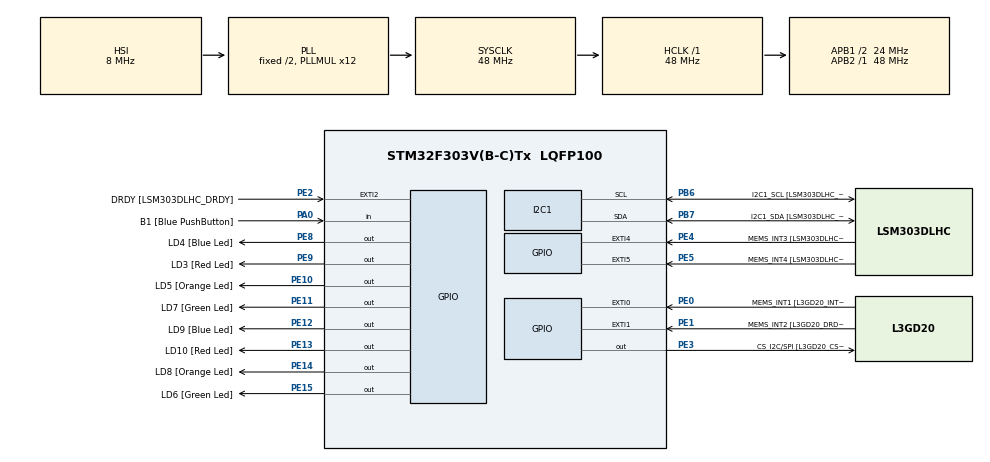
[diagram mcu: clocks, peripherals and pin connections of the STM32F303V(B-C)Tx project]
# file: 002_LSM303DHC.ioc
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I2C1.Timing=0x00201D2B
Mcu.Family=STM32F3
Mcu.Name=STM32F303V(B-C)Tx
Mcu.Package=LQFP100
NVIC.PriorityGroup=NVIC_PRIORITYGROUP_0
PA0.GPIO_Label=B1 [Blue PushButton]
PA0.GPIO_Mode=GPIO_MODE_INPUT
PA0.GPIO_PuPd=GPIO_NOPULL
PA0.Signal=GPIO_Input
PA11.GPIO_Label=DM
PA11.Signal=USB_DM
PA12.GPIO_Label=DP
PA12.Signal=USB_DP
PA13.GPIO_Label=SWDIO
PA13.Signal=SYS_JTMS-SWDIO
PA14.GPIO_Label=SWCLK
PA14.Signal=SYS_JTCK-SWCLK
PA5.GPIO_Label=SPI1_SCK [L3GD20_SCL/SPC]
PA5.GPIO_Mode=GPIO_MODE_AF_PP
PA5.GPIO_PuPd=GPIO_NOPULL
PA5.GPIO_Speed=GPIO_SPEED_FREQ_LOW
PA5.Signal=SPI1_SCK
PA6.GPIO_Label=SPI1_MISO [L3GD20_SA0/SDO]
PA6.GPIO_Mode=GPIO_MODE_AF_PP
PA6.GPIO_PuPd=GPIO_NOPULL
PA6.GPIO_Speed=GPIO_SPEED_FREQ_LOW
PA6.Signal=SPI1_MISO
PA7.GPIO_Label=SPI1_MISO [L3GD20_SDA/SDI/SDO]
PA7.GPIO_Mode=GPIO_MODE_AF_PP
PA7.GPIO_PuPd=GPIO_NOPULL
PA7.GPIO_Speed=GPIO_SPEED_FREQ_LOW
PA7.Signal=SPI1_MOSI
PB3.GPIO_Label=SWO
PB3.Signal=SYS_JTDO-TRACESWO
PB6.GPIO_FM6=__NULL
PB6.GPIO_Label=I2C1_SCL [LSM303DLHC_SCL]
PB6.GPIO_Mode=GPIO_MODE_AF_OD
PB6.GPIO_PuPd=GPIO_NOPULL
PB6.GPIO_Speed=GPIO_SPEED_FREQ_LOW
PB6.Mode=I2C
PB6.Signal=I2C1_SCL
PB7.GPIO_FM7=__NULL
PB7.GPIO_Label=I2C1_SDA [LSM303DLHC_SDA]
PB7.GPIO_Mode=GPIO_MODE_AF_OD
PB7.GPIO_PuPd=GPIO_NOPULL
PB7.GPIO_Speed=GPIO_SPEED_FREQ_LOW
PB7.Mode=I2C
PB7.Signal=I2C1_SDA
PC14-OSC32_IN.GPIO_Label=OSC32_IN
PC14-OSC32_IN.Signal=RCC_OSC32_IN
PC15-OSC32_OUT.GPIO_Label=OSC32_OUT
PC15-OSC32_OUT.Signal=RCC_OSC32_OUT
PE0.GPIO_Label=MEMS_INT1 [L3GD20_INT1]
PE0.GPIO_ModeDefaultEXTI=GPIO_MODE_EVT_RISING
PE0.GPIO_PuPd=GPIO_NOPULL
PE0.Signal=GPXTI0
PE1.GPIO_Label=MEMS_INT2 [L3GD20_DRDY/INT2]
PE1.GPIO_ModeDefaultEXTI=GPIO_MODE_EVT_RISING
PE1.GPIO_PuPd=GPIO_NOPULL
PE1.Signal=GPXTI1
PE10.GPIO_Label=LD5 [Orange Led]
PE10.GPIO_ModeDefaultOutputPP=GPIO_MODE_OUTPUT_PP
PE10.GPIO_PuPd=GPIO_NOPULL
PE10.GPIO_Speed=GPIO_SPEED_FREQ_LOW
PE10.Signal=GPIO_Output
PE11.GPIO_Label=LD7 [Green Led]
PE11.GPIO_ModeDefaultOutputPP=GPIO_MODE_OUTPUT_PP
PE11.GPIO_PuPd=GPIO_NOPULL
PE11.GPIO_Speed=GPIO_SPEED_FREQ_LOW
PE11.Signal=GPIO_Output
PE12.GPIO_Label=LD9 [Blue Led]
PE12.GPIO_ModeDefaultOutputPP=GPIO_MODE_OUTPUT_PP
PE12.GPIO_PuPd=GPIO_NOPULL
PE12.GPIO_Speed=GPIO_SPEED_FREQ_LOW
PE12.Signal=GPIO_Output
PE13.GPIO_Label=LD10 [Red Led]
PE13.GPIO_ModeDefaultOutputPP=GPIO_MODE_OUTPUT_PP
PE13.GPIO_PuPd=GPIO_NOPULL
PE13.GPIO_Speed=GPIO_SPEED_FREQ_LOW
PE13.Signal=GPIO_Output
PE14.GPIO_Label=LD8 [Orange Led]
PE14.GPIO_ModeDefaultOutputPP=GPIO_MODE_OUTPUT_PP
PE14.GPIO_PuPd=GPIO_NOPULL
PE14.GPIO_Speed=GPIO_SPEED_FREQ_LOW
PE14.Signal=GPIO_Output
PE15.GPIO_Label=LD6 [Green Led]
PE15.GPIO_ModeDefaultOutputPP=GPIO_MODE_OUTPUT_PP
PE15.GPIO_PuPd=GPIO_NOPULL
PE15.GPIO_Speed=GPIO_SPEED_FREQ_LOW
PE15.Signal=GPIO_Output
PE2.GPIO_Label=DRDY [LSM303DLHC_DRDY]
PE2.GPIO_ModeDefaultEXTI=GPIO_MODE_EVT_RISING
PE2.GPIO_PuPd=GPIO_NOPULL
PE2.Signal=GPXTI2
PE3.GPIO_Label=CS_I2C/SPI [L3GD20_CS_I2C/SPI]
PE3.GPIO_ModeDefaultOutputPP=GPIO_MODE_OUTPUT_PP
PE3.GPIO_PuPd=GPIO_NOPULL
PE3.GPIO_Speed=GPIO_SPEED_FREQ_LOW
PE3.Signal=GPIO_Output
PE4.GPIO_Label=MEMS_INT3 [LSM303DLHC_INT1]
PE4.GPIO_ModeDefaultEXTI=GPIO_MODE_EVT_RISING
PE4.GPIO_PuPd=GPIO_NOPULL
PE4.Signal=GPXTI4
PE5.GPIO_Label=MEMS_INT4 [LSM303DLHC_INT2]
PE5.GPIO_ModeDefaultEXTI=GPIO_MODE_EVT_RISING
PE5.GPIO_PuPd=GPIO_NOPULL
PE5.Signal=GPXTI5
PE8.GPIO_Label=LD4 [Blue Led]
PE8.GPIO_ModeDefaultOutputPP=GPIO_MODE_OUTPUT_PP
PE8.GPIO_PuPd=GPIO_NOPULL
PE8.GPIO_Speed=GPIO_SPEED_FREQ_LOW
PE8.Signal=GPIO_Output
PE9.GPIO_Label=LD3 [Red Led]
PE9.GPIO_ModeDefaultOutputPP=GPIO_MODE_OUTPUT_PP
PE9.GPIO_PuPd=GPIO_NOPULL
PE9.GPIO_Speed=GPIO_SPEED_FREQ_LOW
PE9.Signal=GPIO_Output
PF0-OSC_IN.GPIO_Label=OSC_IN
PF0-OSC_IN.Signal=RCC_OSC_IN
PF1-OSC_OUT.GPIO_Label=OSC_OUT
PF1-OSC_OUT.Signal=RCC_OSC_OUT
ProjectManager.HeapSize=0x200
ProjectManager.StackSize=0x400
ProjectManager.TargetToolchain=STM32CubeIDE
RCC.AHBFreq_Value=48000000
RCC.APB1CLKDivider=RCC_HCLK_DIV2
RCC.APB1Freq_Value=24000000
RCC.APB1TimFreq_Value=48000000
RCC.APB2Freq_Value=48000000
RCC.APB2TimFreq_Value=48000000
RCC.CortexFreq_Value=48000000
RCC.HCLKFreq_Value=48000000
RCC.HSE_VALUE=8000000
RCC.HSI_VALUE=8000000
RCC.LSE_VALUE=32768
RCC.PLLMUL=RCC_PLL_MUL12
RCC.SYSCLKFreq_VALUE=48000000
RCC.SYSCLKSourceVirtual=RCC_SYSCLKSOURCE_PLLCLK
RCC.USBFreq_Value=48000000
board=STM32F3DISCOVERY

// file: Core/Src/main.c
/* USER CODE BEGIN Header */
/**
  ******************************************************************************
  * @file           : main.c
  * @brief          : Main program body
  ******************************************************************************
  * @attention
  *
  * Copyright (c) 2025 STMicroelectronics.
  * All rights reserved.
  *
  * This software is licensed under terms that can be found in the LICENSE file
  * in the root directory of this software component.
  * If no LICENSE file comes with this software, it is provided AS-IS.
  *
  ******************************************************************************
  */
/* USER CODE END Header */
#include "main.h"

/* USER CODE BEGIN Includes */
#include "rgb_lcd.h"
#include <stdio.h>
#include <inttypes.h>
/* USER CODE END Includes */

I2C_HandleTypeDef hi2c1;

/* USER CODE BEGIN PV */
LCD_HandleTypeDef hlcd;
HAL_StatusTypeDef status;
__IO uint8_t UserPressButton = 0;

/* Counter for User button presses*/
__IO uint32_t PressCount = 0;

// init af threshold to detect acceleration on MEMS
int16_t ThresholdHigh = 1000;
int16_t ThresholdLow = -1000;

uint8_t DemoIndex = 0;
BSP_DemoTypedef  BSP_examples[]={
  {ACCELERO_MEMS_Test, "LSM303DLHC", 0}
};
/* USER CODE END PV */

void SystemClock_Config(void);
static void MX_GPIO_Init(void);
static void MX_I2C1_Init(void);
/* USER CODE BEGIN PFP */
static void ACCELERO_ReadAcc(void);
/* USER CODE END PFP */

int main(void)
{

  /* MCU Configuration--------------------------------------------------------*/

  /* Reset of all peripherals, Initializes the Flash interface and the Systick. */
  HAL_Init();

  /* Configure the system clock */
  SystemClock_Config();

  /* Initialize all configured peripherals */
  MX_GPIO_Init();
  MX_I2C1_Init();
  /* USER CODE BEGIN 2 */

  BSP_LED_Init(LED4);
  BSP_LED_Init(LED3);
  BSP_LED_Init(LED5);
  BSP_LED_Init(LED7);
  BSP_LED_Init(LED9);
  BSP_LED_Init(LED10);
  BSP_LED_Init(LED8);
  BSP_LED_Init(LED6);

  BSP_PB_Init(BUTTON_USER, BUTTON_MODE_EXTI);

  // LCD init
  status = LCD_Init(&hlcd, &hi2c1);
  if(status != HAL_OK) {
      Error_Handler();
  }
  HAL_Delay(100);

  LCD_SetRGB(&hlcd, 255, 0, 0);

  // Clear the display
  status = LCD_Clear(&hlcd);
  if(status != HAL_OK) {
      Error_Handler();
  }
  HAL_Delay(10);

  // hello world first line
  status = LCD_SetCursor(&hlcd, 0, 0);
  if(status != HAL_OK) {
      Error_Handler();
  }
  HAL_Delay(10);

  status = LCD_Print(&hlcd, "hola mundo");
  if(status != HAL_OK) {
      Error_Handler();
  }
  HAL_Delay(10);

  // second line
  status = LCD_SetCursor(&hlcd, 0, 1);
  if(status != HAL_OK) {
      Error_Handler();
  }
  HAL_Delay(10);

  status = LCD_Print(&hlcd, "LSM303DLHC Test");
  if(status != HAL_OK) {
      Error_Handler();
  }
  HAL_Delay(10);

  /* USER CODE END 2 */

  /* Infinite loop */
  /* USER CODE BEGIN WHILE */
  while (1)
  {
	  BSP_examples[0].DemoFunc();
    /* USER CODE END WHILE */

  }
}

void SystemClock_Config(void)
{
  RCC_OscInitTypeDef RCC_OscInitStruct = {0};
  RCC_ClkInitTypeDef RCC_ClkInitStruct = {0};
  RCC_PeriphCLKInitTypeDef PeriphClkInit = {0};

  /** Initializes the RCC Oscillators according to the specified parameters
  * in the RCC_OscInitTypeDef structure.
  */
  RCC_OscInitStruct.OscillatorType = RCC_OSCILLATORTYPE_HSI;
  RCC_OscInitStruct.HSIState = RCC_HSI_ON;
  RCC_OscInitStruct.HSICalibrationValue = RCC_HSICALIBRATION_DEFAULT;
  RCC_OscInitStruct.PLL.PLLState = RCC_PLL_ON;
  RCC_OscInitStruct.PLL.PLLSource = RCC_PLLSOURCE_HSI;
  RCC_OscInitStruct.PLL.PLLMUL = RCC_PLL_MUL12;
  if (HAL_RCC_OscConfig(&RCC_OscInitStruct) != HAL_OK)
  {
    Error_Handler();
  }

  /** Initializes the CPU, AHB and APB buses clocks
  */
  RCC_ClkInitStruct.ClockType = RCC_CLOCKTYPE_HCLK|RCC_CLOCKTYPE_SYSCLK
                              |RCC_CLOCKTYPE_PCLK1|RCC_CLOCKTYPE_PCLK2;
  RCC_ClkInitStruct.SYSCLKSource = RCC_SYSCLKSOURCE_PLLCLK;
  RCC_ClkInitStruct.AHBCLKDivider = RCC_SYSCLK_DIV1;
  RCC_ClkInitStruct.APB1CLKDivider = RCC_HCLK_DIV2;
  RCC_ClkInitStruct.APB2CLKDivider = RCC_HCLK_DIV1;

  if (HAL_RCC_ClockConfig(&RCC_ClkInitStruct, FLASH_LATENCY_1) != HAL_OK)
  {
    Error_Handler();
  }
  PeriphClkInit.PeriphClockSelection = RCC_PERIPHCLK_I2C1;
  PeriphClkInit.I2c1ClockSelection = RCC_I2C1CLKSOURCE_HSI;
  if (HAL_RCCEx_PeriphCLKConfig(&PeriphClkInit) != HAL_OK)
  {
    Error_Handler();
  }
}

static void MX_I2C1_Init(void)
{

  hi2c1.Instance = I2C1;
  hi2c1.Init.Timing = 0x00201D2B;
  hi2c1.Init.OwnAddress1 = 0;
  hi2c1.Init.AddressingMode = I2C_ADDRESSINGMODE_7BIT;
  hi2c1.Init.DualAddressMode = I2C_DUALADDRESS_DISABLE;
  hi2c1.Init.OwnAddress2 = 0;
  hi2c1.Init.OwnAddress2Masks = I2C_OA2_NOMASK;
  hi2c1.Init.GeneralCallMode = I2C_GENERALCALL_DISABLE;
  hi2c1.Init.NoStretchMode = I2C_NOSTRETCH_DISABLE;
  if (HAL_I2C_Init(&hi2c1) != HAL_OK)
  {
    Error_Handler();
  }

  /** Configure Analogue filter
  */
  if (HAL_I2CEx_ConfigAnalogFilter(&hi2c1, I2C_ANALOGFILTER_ENABLE) != HAL_OK)
  {
    Error_Handler();
  }

  /** Configure Digital filter
  */
  if (HAL_I2CEx_ConfigDigitalFilter(&hi2c1, 0) != HAL_OK)
  {
    Error_Handler();
  }

}

static void MX_GPIO_Init(void)
{
  GPIO_InitTypeDef GPIO_InitStruct = {0};

  /* GPIO Ports Clock Enable */
  __HAL_RCC_GPIOE_CLK_ENABLE();
  __HAL_RCC_GPIOC_CLK_ENABLE();
  __HAL_RCC_GPIOF_CLK_ENABLE();
  __HAL_RCC_GPIOA_CLK_ENABLE();
  __HAL_RCC_GPIOB_CLK_ENABLE();

  /*Configure GPIO pin Output Level */
  HAL_GPIO_WritePin(GPIOE, CS_I2C_SPI_Pin|LD4_Pin|LD3_Pin|LD5_Pin
                          |LD7_Pin|LD9_Pin|LD10_Pin|LD8_Pin
                          |LD6_Pin, GPIO_PIN_RESET);

  /*Configure GPIO pins : DRDY_Pin MEMS_INT3_Pin MEMS_INT4_Pin MEMS_INT1_Pin
                           MEMS_INT2_Pin */
  GPIO_InitStruct.Pin = DRDY_Pin|MEMS_INT3_Pin|MEMS_INT4_Pin|MEMS_INT1_Pin
                          |MEMS_INT2_Pin;
  GPIO_InitStruct.Mode = GPIO_MODE_EVT_RISING;
  GPIO_InitStruct.Pull = GPIO_NOPULL;
  HAL_GPIO_Init(GPIOE, &GPIO_InitStruct);

  /*Configure GPIO pins : CS_I2C_SPI_Pin LD4_Pin LD3_Pin LD5_Pin
                           LD7_Pin LD9_Pin LD10_Pin LD8_Pin
                           LD6_Pin */
  GPIO_InitStruct.Pin = CS_I2C_SPI_Pin|LD4_Pin|LD3_Pin|LD5_Pin
                          |LD7_Pin|LD9_Pin|LD10_Pin|LD8_Pin
                          |LD6_Pin;
  GPIO_InitStruct.Mode = GPIO_MODE_OUTPUT_PP;
  GPIO_InitStruct.Pull = GPIO_NOPULL;
  GPIO_InitStruct.Speed = GPIO_SPEED_FREQ_LOW;
  HAL_GPIO_Init(GPIOE, &GPIO_InitStruct);

  /*Configure GPIO pin : B1_Pin */
  GPIO_InitStruct.Pin = B1_Pin;
  GPIO_InitStruct.Mode = GPIO_MODE_INPUT;
  GPIO_InitStruct.Pull = GPIO_NOPULL;
  HAL_GPIO_Init(B1_GPIO_Port, &GPIO_InitStruct);

  /*Configure GPIO pins : SPI1_SCK_Pin SPI1_MISO_Pin SPI1_MISOA7_Pin */
  GPIO_InitStruct.Pin = SPI1_SCK_Pin|SPI1_MISO_Pin|SPI1_MISOA7_Pin;
  GPIO_InitStruct.Mode = GPIO_MODE_AF_PP;
  GPIO_InitStruct.Pull = GPIO_NOPULL;
  GPIO_InitStruct.Speed = GPIO_SPEED_FREQ_LOW;
  GPIO_InitStruct.Alternate = GPIO_AF5_SPI1;
  HAL_GPIO_Init(GPIOA, &GPIO_InitStruct);

  /*Configure GPIO pins : DM_Pin DP_Pin */
  GPIO_InitStruct.Pin = DM_Pin|DP_Pin;
  GPIO_InitStruct.Mode = GPIO_MODE_AF_PP;
  GPIO_InitStruct.Pull = GPIO_NOPULL;
  GPIO_InitStruct.Speed = GPIO_SPEED_FREQ_HIGH;
  GPIO_InitStruct.Alternate = GPIO_AF14_USB;
  HAL_GPIO_Init(GPIOA, &GPIO_InitStruct);

}

/* USER CODE BEGIN 4 */
/**
  * @brief Test ACCELERATOR MEMS Hardware.
  *   The main objective of this test is to check acceleration on 2 axis X and Y
  * @param  None
  * @retval None
  */
void ACCELERO_MEMS_Test(void)
  {
  /* Init Accelerometer Mems */
  if(BSP_ACCELERO_Init() != HAL_OK)
  {
    /* Initialization Error */
    Error_Handler();
  }

  UserPressButton = 0;
  while(!UserPressButton)
  {
    ACCELERO_ReadAcc();
  }
}

static void ACCELERO_ReadAcc(void)
{
  int16_t buffer[3] = {0};
  int16_t xval, yval = 0x00;
  char line2[16]; // 16 characters per line LCD
  char line1[16];

  /* Read Acceleration*/
  BSP_ACCELERO_GetXYZ(buffer);

  /* Update autoreload and capture compare registers value*/
  xval = buffer[0];
  yval = buffer[1];

  if((ABS(xval))>(ABS(yval)))
  {
    if(xval > ThresholdHigh)
    {
      /* LED10 On */
      BSP_LED_On(LED10);
      HAL_Delay(10);

      // Clear the display
      status = LCD_Clear(&hlcd);
      if(status != HAL_OK) {
          Error_Handler();
      }
      HAL_Delay(10);

      // First line - title
      snprintf(line1, sizeof(line2), "x%"PRId16" y%"PRId16"",
                     buffer[0], buffer[1]);

      status = LCD_SetCursor(&hlcd, 0, 0);
      if(status != HAL_OK) {
          Error_Handler();
      }
      HAL_Delay(10);

      status = LCD_Print(&hlcd, line1);
      if(status != HAL_OK) {
          Error_Handler();
      }
      HAL_Delay(10);

      // Second line - format the accelerometer values
      snprintf(line2, sizeof(line2), "z%"PRId16"",
               buffer[2]);

      status = LCD_SetCursor(&hlcd, 0, 1);
      if(status != HAL_OK) {
          Error_Handler();
      }
      HAL_Delay(10);

      status = LCD_Print(&hlcd, line2);
      if(status != HAL_OK) {
          Error_Handler();
      }
      HAL_Delay(10);
    }
    else if(xval < ThresholdLow)
    {
      /* LED3 On */
      BSP_LED_On(LED3);
      HAL_Delay(10);
    }
    else
    {
      HAL_Delay(10);
    }
  }
  else
  {
    if(yval < ThresholdLow)
    {
      /* LED6 On */
      BSP_LED_On(LED6);
      HAL_Delay(10);
    }
    else if(yval > ThresholdHigh)
    {
      /* LED7 On */
      BSP_LED_On(LED7);
      HAL_Delay(10);
    }
    else
  {
      HAL_Delay(10);
    }
  }

     BSP_LED_Off(LED3);
     BSP_LED_Off(LED6);
     BSP_LED_Off(LED7);
     BSP_LED_Off(LED4);
     BSP_LED_Off(LED10);
     BSP_LED_Off(LED8);
     BSP_LED_Off(LED9);
     BSP_LED_Off(LED5);

}

void Toggle_Leds(void)
{
    BSP_LED_Toggle(LED3);
    HAL_Delay(100);
    BSP_LED_Toggle(LED4);
    HAL_Delay(100);
    BSP_LED_Toggle(LED6);
    HAL_Delay(100);
    BSP_LED_Toggle(LED8);
    HAL_Delay(100);
    BSP_LED_Toggle(LED10);
    HAL_Delay(100);
    BSP_LED_Toggle(LED9);
    HAL_Delay(100);
    BSP_LED_Toggle(LED7);
    HAL_Delay(100);
    BSP_LED_Toggle(LED5);
    HAL_Delay(100);
}

void HAL_GPIO_EXTI_Callback(uint16_t GPIO_Pin)
{
  if (USER_BUTTON_PIN == GPIO_Pin)
  {
    while (BSP_PB_GetState(BUTTON_USER) != RESET);
    UserPressButton = 1;
  }
}
/* USER CODE END 4 */

void Error_Handler(void)
{
  __disable_irq();
  while (1)
  {
  }
}
